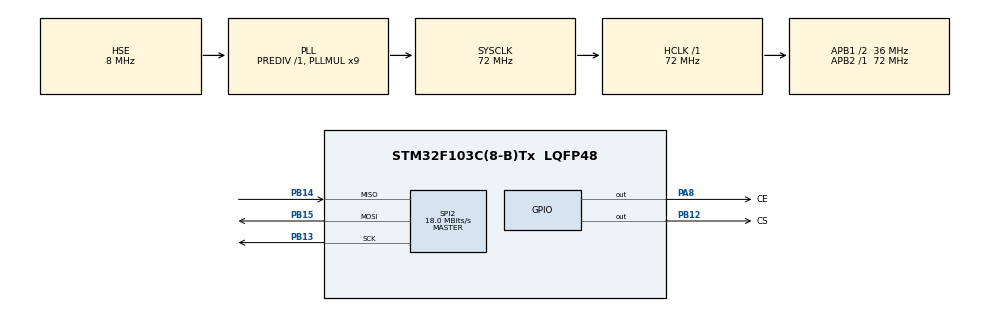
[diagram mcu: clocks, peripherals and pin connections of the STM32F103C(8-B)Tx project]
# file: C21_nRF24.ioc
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Mcu.Family=STM32F1
Mcu.Name=STM32F103C(8-B)Tx
Mcu.Package=LQFP48
NVIC.PriorityGroup=NVIC_PRIORITYGROUP_4
PA13.Mode=Serial_Wire
PA13.Signal=SYS_JTMS-SWDIO
PA14.Mode=Serial_Wire
PA14.Signal=SYS_JTCK-SWCLK
PA8.GPIO_Label=CE
PA8.GPIO_Speed=GPIO_SPEED_FREQ_MEDIUM
PA8.PinState=GPIO_PIN_RESET
PA8.Signal=GPIO_Output
PB12.GPIO_Label=CS
PB12.GPIO_Speed=GPIO_SPEED_FREQ_MEDIUM
PB12.Signal=GPIO_Output
PB13.Mode=Full_Duplex_Master
PB13.Signal=SPI2_SCK
PB14.Mode=Full_Duplex_Master
PB14.Signal=SPI2_MISO
PB15.Mode=Full_Duplex_Master
PB15.Signal=SPI2_MOSI
PD0-OSC_IN.Mode=HSE-External-Oscillator
PD0-OSC_IN.Signal=RCC_OSC_IN
PD1-OSC_OUT.Mode=HSE-External-Oscillator
PD1-OSC_OUT.Signal=RCC_OSC_OUT
ProjectManager.HeapSize=0x200
ProjectManager.StackSize=0x400
ProjectManager.TargetToolchain=STM32CubeIDE
RCC.AHBFreq_Value=72000000
RCC.APB1CLKDivider=RCC_HCLK_DIV2
RCC.APB1Freq_Value=36000000
RCC.APB1TimFreq_Value=72000000
RCC.APB2Freq_Value=72000000
RCC.APB2TimFreq_Value=72000000
RCC.HCLKFreq_Value=72000000
RCC.PLLMUL=RCC_PLL_MUL9
RCC.PLLSourceVirtual=RCC_PLLSOURCE_HSE
RCC.SYSCLKFreq_VALUE=72000000
RCC.SYSCLKSource=RCC_SYSCLKSOURCE_PLLCLK
RCC.USBFreq_Value=72000000
SPI2.CalculateBaudRate=18.0 MBits/s
SPI2.Direction=SPI_DIRECTION_2LINES
SPI2.Mode=SPI_MODE_MASTER
SPI2.VirtualType=VM_MASTER
board=custom

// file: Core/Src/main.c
/* USER CODE BEGIN Header */
/**
  ******************************************************************************
  * @file           : main.c
  * @brief          : Main program body
  ******************************************************************************
  * @attention
  *
  * <h2><center>&copy; Copyright (c) 2020 STMicroelectronics.
  * All rights reserved.</center></h2>
  *
  * This software component is licensed by ST under BSD 3-Clause license,
  * the "License"; You may not use this file except in compliance with the
  * License. You may obtain a copy of the License at:
  *                        opensource.org/licenses/BSD-3-Clause
  *
  ******************************************************************************
  */
/* USER CODE END Header */
#include "main.h"

/* USER CODE BEGIN Includes */
#include "nrf24_hal.h"
#include "nrf24.h"
/* USER CODE END Includes */

SPI_HandleTypeDef hspi2;

void SystemClock_Config(void);
static void MX_GPIO_Init(void);
static void MX_SPI2_Init(void);

/* USER CODE BEGIN 0 */
void init_nRF24(){
	uint8_t ADDR[] = { 'n', 'R', 'F', '2', '4' }; // the TX address
	nRF24_DisableAA(0xFF); // disable ShockBurst
	nRF24_SetRFChannel(24); // set RF channel to 2490MHz
	nRF24_SetDataRate(nRF24_DR_2Mbps); // 2Mbit/s data rate
	nRF24_SetCRCScheme(nRF24_CRC_1byte); // 1-byte CRC scheme
	nRF24_SetAddrWidth(5); // address width is 5 bytes
	nRF24_SetTXPower(nRF24_TXPWR_0dBm); // configure TX power
	nRF24_SetAddr(nRF24_PIPETX, ADDR); // program TX address
	nRF24_SetOperationalMode(nRF24_MODE_TX); // switch transceiver to the TX mode
	nRF24_SetPowerMode(nRF24_PWR_UP); // wake-up transceiver (in case if it sleeping)
	// the nRF24 is ready for transmission, upload a payload, then pull CE pin to HIGH and it will transmit a packet...
}
/* USER CODE END 0 */

int main(void)
{

  /* MCU Configuration--------------------------------------------------------*/

  /* Reset of all peripherals, Initializes the Flash interface and the Systick. */
  HAL_Init();

  /* Configure the system clock */
  SystemClock_Config();

  /* Initialize all configured peripherals */
  MX_GPIO_Init();
  MX_SPI2_Init();
  /* USER CODE BEGIN 2 */
  init_nRF24();
  char pBuf[10] = "abcdefgh";
  /* USER CODE END 2 */

  /* Infinite loop */
  while (1)
  {

    /* USER CODE BEGIN 3 */
	  uint8_t status;
	  nRF24_WritePayload(pBuf, 10); // transfer payload data to transceiver
	  nRF24_CE_H; // assert CE pin (transmission starts)
	  while (1) {
	      status = nRF24_GetStatus();
	      if (status & (nRF24_FLAG_TX_DS | nRF24_FLAG_MAX_RT)) {
	          // transmission ended, exit loop
	          break;
	      }
	  }
	  nRF24_CE_L; // de-assert CE pin (nRF24 goes to StandBy-I mode)
//	  nRF24_ClearIRQFlags(); // clear any pending IRQ flags
	  if (status & nRF24_FLAG_MAX_RT) {
	      // Auto retransmit counter exceeds the programmed maximum limit (payload in FIFO is not removed)
	      // Also the software can flush the TX FIFO here...

	  }
	  if (status & nRF24_FLAG_TX_DS) {
	      // Successful transmission

	  }
	  // In fact that should not happen

  }
  /* USER CODE END 3 */
}

void SystemClock_Config(void)
{
  RCC_OscInitTypeDef RCC_OscInitStruct = {0};
  RCC_ClkInitTypeDef RCC_ClkInitStruct = {0};

  /** Initializes the RCC Oscillators according to the specified parameters
  * in the RCC_OscInitTypeDef structure.
  */
  RCC_OscInitStruct.OscillatorType = RCC_OSCILLATORTYPE_HSE;
  RCC_OscInitStruct.HSEState = RCC_HSE_ON;
  RCC_OscInitStruct.HSEPredivValue = RCC_HSE_PREDIV_DIV1;
  RCC_OscInitStruct.HSIState = RCC_HSI_ON;
  RCC_OscInitStruct.PLL.PLLState = RCC_PLL_ON;
  RCC_OscInitStruct.PLL.PLLSource = RCC_PLLSOURCE_HSE;
  RCC_OscInitStruct.PLL.PLLMUL = RCC_PLL_MUL9;
  if (HAL_RCC_OscConfig(&RCC_OscInitStruct) != HAL_OK)
  {
    Error_Handler();
  }
  /** Initializes the CPU, AHB and APB buses clocks
  */
  RCC_ClkInitStruct.ClockType = RCC_CLOCKTYPE_HCLK|RCC_CLOCKTYPE_SYSCLK
                              |RCC_CLOCKTYPE_PCLK1|RCC_CLOCKTYPE_PCLK2;
  RCC_ClkInitStruct.SYSCLKSource = RCC_SYSCLKSOURCE_PLLCLK;
  RCC_ClkInitStruct.AHBCLKDivider = RCC_SYSCLK_DIV1;
  RCC_ClkInitStruct.APB1CLKDivider = RCC_HCLK_DIV2;
  RCC_ClkInitStruct.APB2CLKDivider = RCC_HCLK_DIV1;

  if (HAL_RCC_ClockConfig(&RCC_ClkInitStruct, FLASH_LATENCY_2) != HAL_OK)
  {
    Error_Handler();
  }
}

static void MX_SPI2_Init(void)
{

  /* SPI2 parameter configuration*/
  hspi2.Instance = SPI2;
  hspi2.Init.Mode = SPI_MODE_MASTER;
  hspi2.Init.Direction = SPI_DIRECTION_2LINES;
  hspi2.Init.DataSize = SPI_DATASIZE_8BIT;
  hspi2.Init.CLKPolarity = SPI_POLARITY_LOW;
  hspi2.Init.CLKPhase = SPI_PHASE_1EDGE;
  hspi2.Init.NSS = SPI_NSS_SOFT;
  hspi2.Init.BaudRatePrescaler = SPI_BAUDRATEPRESCALER_2;
  hspi2.Init.FirstBit = SPI_FIRSTBIT_MSB;
  hspi2.Init.TIMode = SPI_TIMODE_DISABLE;
  hspi2.Init.CRCCalculation = SPI_CRCCALCULATION_DISABLE;
  hspi2.Init.CRCPolynomial = 10;
  if (HAL_SPI_Init(&hspi2) != HAL_OK)
  {
    Error_Handler();
  }

}

static void MX_GPIO_Init(void)
{
  GPIO_InitTypeDef GPIO_InitStruct = {0};

  /* GPIO Ports Clock Enable */
  __HAL_RCC_GPIOD_CLK_ENABLE();
  __HAL_RCC_GPIOB_CLK_ENABLE();
  __HAL_RCC_GPIOA_CLK_ENABLE();

  /*Configure GPIO pin Output Level */
  HAL_GPIO_WritePin(CS_GPIO_Port, CS_Pin, GPIO_PIN_RESET);

  /*Configure GPIO pin Output Level */
  HAL_GPIO_WritePin(CE_GPIO_Port, CE_Pin, GPIO_PIN_RESET);

  /*Configure GPIO pin : CS_Pin */
  GPIO_InitStruct.Pin = CS_Pin;
  GPIO_InitStruct.Mode = GPIO_MODE_OUTPUT_PP;
  GPIO_InitStruct.Pull = GPIO_NOPULL;
  GPIO_InitStruct.Speed = GPIO_SPEED_FREQ_MEDIUM;
  HAL_GPIO_Init(CS_GPIO_Port, &GPIO_InitStruct);

  /*Configure GPIO pin : CE_Pin */
  GPIO_InitStruct.Pin = CE_Pin;
  GPIO_InitStruct.Mode = GPIO_MODE_OUTPUT_PP;
  GPIO_InitStruct.Pull = GPIO_NOPULL;
  GPIO_InitStruct.Speed = GPIO_SPEED_FREQ_MEDIUM;
  HAL_GPIO_Init(CE_GPIO_Port, &GPIO_InitStruct);

}

void Error_Handler(void)
{
}

/************************ (C) COPYRIGHT STMicroelectronics *****END OF FILE****/
